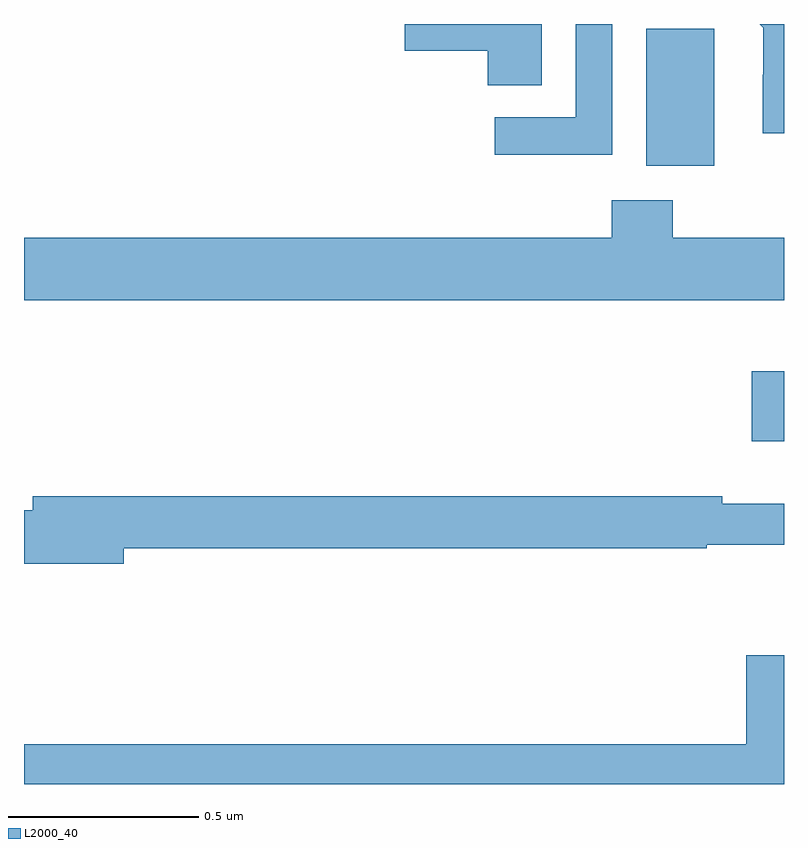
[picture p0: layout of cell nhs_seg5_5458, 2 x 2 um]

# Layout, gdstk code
import gdstk
lib = gdstk.Library(unit=1e-6, precision=1e-09)
def R(c, l, rs):  # rectangles x0, y0, x1, y1
    for r in rs: c.add(gdstk.rectangle(r[:2], r[2:], *l))
def P(c, l, *ps):  # polygons
    for p in ps: c.add(gdstk.Polygon(p, *l))
L2000_40 = (2000, 40)

nhs_seg5_5458 = lib.new_cell('nhs_seg5_5458')
R(nhs_seg5_5458, L2000_40, [(184.915,877.701,185,877.885), (184.637,878.426,184.816,878.787)])
P(nhs_seg5_5458, L2000_40, [(184.548,878.799),(184.452,878.799),(184.452,878.553),(184.239,878.553),(184.239,878.455),(184.548,878.455)],
  [(185,878.799),(184.936,878.799),(184.946,878.789),(184.946,878.666),(184.944,878.666),(184.944,878.512),(185,878.512)],
  [(184.363,878.799),(184.002,878.799),(184.002,878.729),(184.22,878.729),(184.22,878.638),(184.363,878.638)],
  [(185,878.236),(184.707,878.236),(184.707,878.335),(184.547,878.335),(184.547,878.236),(183,878.236),(183,878.072),(185,878.072)],
  [(183.262,877.42),(184.797,877.42),(184.797,877.428),(185,877.428),(185,877.537),(184.838,877.537),(184.838,877.556),(183.023,877.556),(183.023,877.52),(183,877.52),(183,877.378),(183.262,877.378)],
  [(185,877.138),(184.901,877.138),(184.901,876.904),(183,876.904),(183,876.799),(185,876.799)])

lib.write_gds('nhs_seg5_5458.gds')
